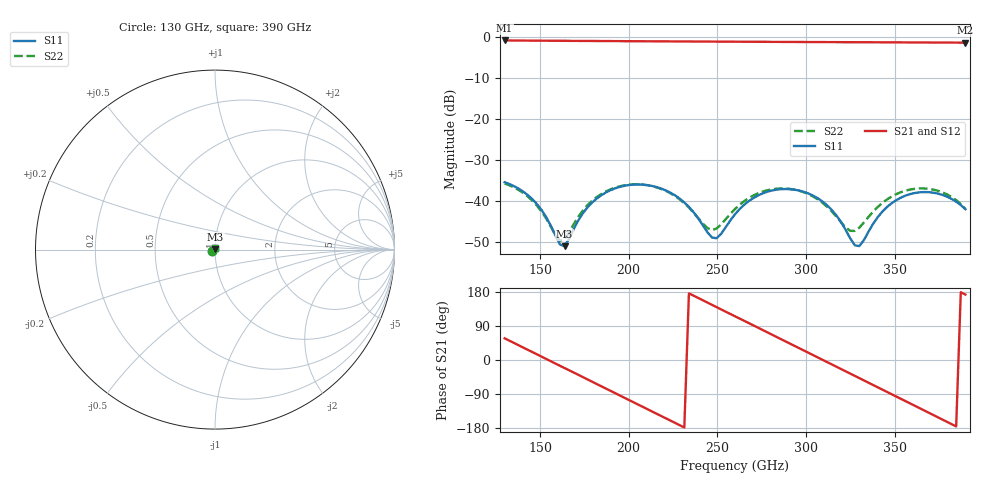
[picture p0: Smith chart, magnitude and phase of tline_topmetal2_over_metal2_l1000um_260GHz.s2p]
#  GHZ S DB R 50
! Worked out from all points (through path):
!   101 points, 130 GHz to 390 GHz, reference 50 ohm
!   highest |S21| = -0.80 dB at 130 GHz (marker M1); lowest = -1.3 dB at 390 GHz (marker M2)
!   group delay of S21, straight-line fit = 6.46 ps
!   lowest |S11| = -51.0 dB at 163.8 GHz (marker M3), VSWR 1.01, Z = 50.3 + j0.0826 ohm
!   |S11| at or under -10 dB: start of sweep to end of sweep
!   |S22| runs from -49.6 to -35.7 dB; largest |S21 - S12| = 1e-13
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130  -35.39 -157.5  -0.80 57.3  -0.80 57.3  -35.69 -159.3
148.2  -40.69 143.6  -0.85 15.0  -0.85 15.0  -41.06 139.6
161.2  -50.55 55.8  -0.88 -15.1  -0.88 -15.1  -49.62 44.5
163.8  -50.97 16.9  -0.89 -21.1  -0.89 -21.1  -49.32 10.3
174.2  -42.94 -68.0  -0.91 -45.3  -0.91 -45.3  -42.25 -66.0
195  -36.51 -138.7  -0.96 -93.6  -0.96 -93.6  -36.37 -137.5
205.4  -35.92 -169.5  -0.99 -117.7  -0.99 -117.7  -35.89 -169.0
218.4  -36.93 151.5  -1.02 -147.9  -1.02 -147.9  -37.03 150.7
231.4  -40.31 108.3  -1.04 -178.1  -1.04 -178.1  -40.50 104.5
247  -48.87 11.0  -1.08 145.6  -1.08 145.6  -47.05 0.6
260  -43.19 -98.5  -1.10 115.4  -1.10 115.4  -41.91 -93.1
270.4  -39.22 -138.8  -1.12 91.2  -1.12 91.2  -38.61 -133.7
280.8  -37.40 -171.6  -1.14 67.0  -1.14 67.0  -37.11 -167.5
293.8  -37.21 149.9  -1.17 36.8  -1.17 36.8  -37.20 152.3
304.2  -38.67 118.6  -1.19 12.6  -1.19 12.6  -38.89 118.5
314.6  -42.13 83.2  -1.20 -11.6  -1.20 -11.6  -42.50 77.1
325  -49.05 24.0  -1.22 -35.8  -1.22 -35.8  -47.23 3.6
330.2  -50.95 -39.3  -1.23 -47.9  -1.23 -47.9  -46.44 -46.1
348.4  -40.49 -149.7  -1.26 -90.3  -1.26 -90.3  -38.86 -137.0
358.8  -38.27 177.7  -1.28 -114.6  -1.28 -114.6  -37.16 -169.5
371.8  -37.92 139.4  -1.30 -144.9  -1.30 -144.9  -37.17 153.2
390  -41.94 80.0  -1.33 172.7  -1.33 172.7  -41.88 99.9
